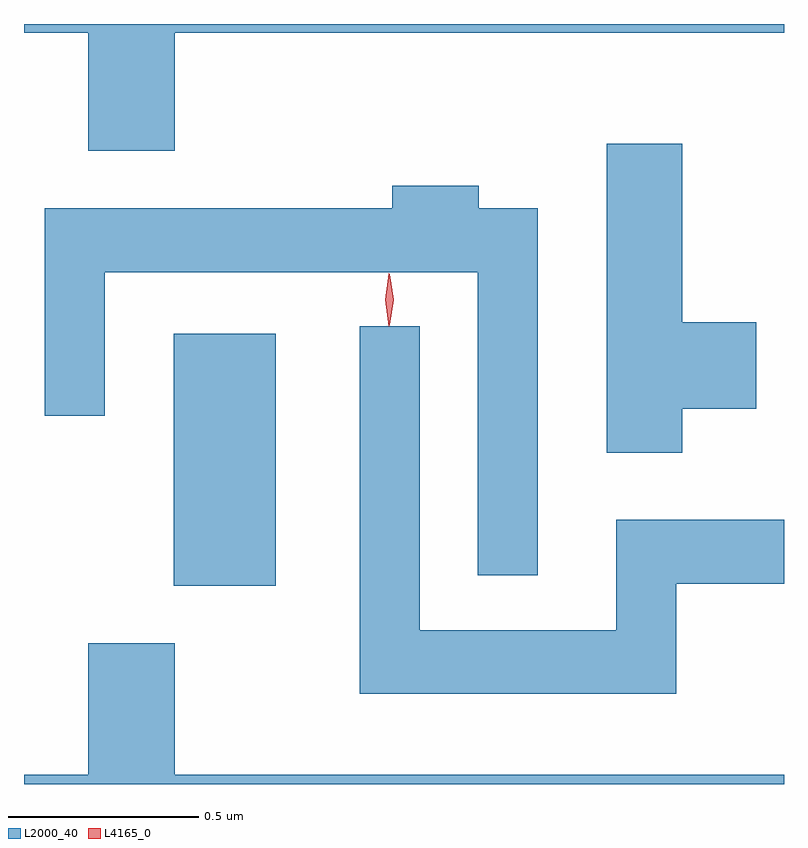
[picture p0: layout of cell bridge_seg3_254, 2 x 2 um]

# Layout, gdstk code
import gdstk
lib = gdstk.Library(unit=1e-6, precision=1e-09)
def R(c, l, rs):  # rectangles x0, y0, x1, y1
    for r in rs: c.add(gdstk.rectangle(r[:2], r[2:], *l))
def P(c, l, *ps):  # polygons
    for p in ps: c.add(gdstk.Polygon(p, *l))
L2000_40 = (2000, 40)
L4165_0 = (4165, 0)

bridge_seg3_254 = lib.new_cell('bridge_seg3_254')
R(bridge_seg3_254, L2000_40, [(1005.956,1142.321,1006.224,1142.984)])
P(bridge_seg3_254, L2000_40, [(1005.959,1143.776),(1007.562,1143.776),(1007.562,1143.799),(1005.562,1143.799),(1005.562,1143.776),(1005.731,1143.776),(1005.731,1143.466),(1005.959,1143.466)],
  [(1007.294,1142.786),(1007.489,1142.786),(1007.489,1143.014),(1007.294,1143.014),(1007.294,1143.484),(1007.096,1143.484),(1007.096,1142.671),(1007.294,1142.671)],
  [(1006.914,1143.314),(1006.759,1143.314),(1006.759,1143.374),(1006.531,1143.374),(1006.531,1143.314),(1005.616,1143.314),(1005.616,1142.768),(1005.774,1142.768),(1005.774,1143.146),(1006.756,1143.146),(1006.756,1142.348),(1006.914,1142.348)],
  [(1007.279,1142.326),(1007.562,1142.326),(1007.562,1142.494),(1007.121,1142.494),(1007.121,1142.204),(1006.604,1142.204),(1006.604,1143.003),(1006.446,1143.003),(1006.446,1142.036),(1007.279,1142.036)],
  [(1007.562,1141.824),(1005.959,1141.824),(1005.959,1142.169),(1005.731,1142.169),(1005.731,1141.824),(1005.562,1141.824),(1005.562,1141.799),(1007.562,1141.799)])
P(bridge_seg3_254, L4165_0, [(1006.522,1143.004),(1006.522,1143.004),(1006.512,1143.073),(1006.522,1143.142),(1006.522,1143.143),(1006.523,1143.142),(1006.532,1143.073),(1006.523,1143.004)],
  [(1006.524,1143.007),(1006.515,1143.074),(1006.524,1143.14),(1006.525,1143.141),(1006.525,1143.14),(1006.535,1143.074),(1006.525,1143.007),(1006.525,1143.007)])

lib.write_gds('bridge_seg3_254.gds')
